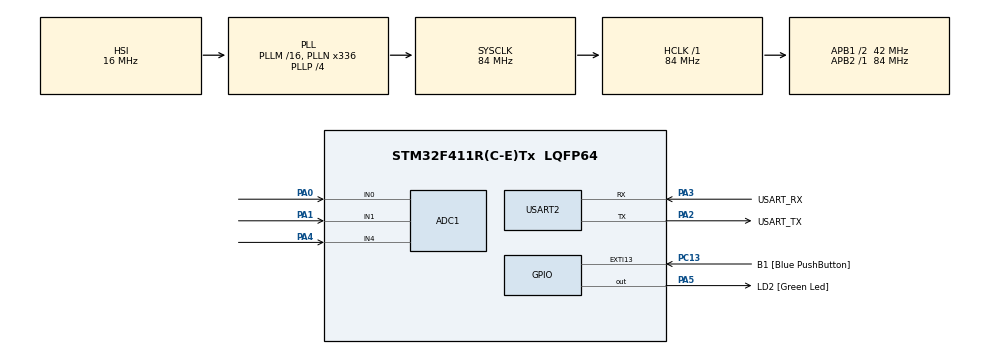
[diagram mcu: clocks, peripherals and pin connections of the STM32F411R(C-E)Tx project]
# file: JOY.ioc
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ADC1.Channel-1\#ChannelRegularConversion=ADC_CHANNEL_0
ADC1.Channel-2\#ChannelRegularConversion=ADC_CHANNEL_1
ADC1.Channel-3\#ChannelRegularConversion=ADC_CHANNEL_4
ADC1.ContinuousConvMode=ENABLE
ADC1.ExternalTrigConv=ADC_EXTERNALTRIGCONV_T3_TRGO
ADC1.NbrOfConversion=3
ADC1.NbrOfConversionFlag=1
ADC1.Rank-1\#ChannelRegularConversion=1
ADC1.Rank-2\#ChannelRegularConversion=2
ADC1.Rank-3\#ChannelRegularConversion=3
ADC1.SamplingTime-1\#ChannelRegularConversion=ADC_SAMPLETIME_56CYCLES
ADC1.SamplingTime-2\#ChannelRegularConversion=ADC_SAMPLETIME_56CYCLES
ADC1.SamplingTime-3\#ChannelRegularConversion=ADC_SAMPLETIME_56CYCLES
ADC1.ScanConvMode=ENABLE
ADC1.master=1
Mcu.Family=STM32F4
Mcu.Name=STM32F411R(C-E)Tx
Mcu.Package=LQFP64
NVIC.ADC_IRQn=true\:0\:0\:false\:false\:true\:true\:true
NVIC.PriorityGroup=NVIC_PRIORITYGROUP_0
NVIC.TIM3_IRQn=true\:0\:0\:false\:false\:true\:true\:true
PA0-WKUP.Signal=ADCx_IN0
PA1.Signal=ADCx_IN1
PA13.GPIO_Label=TMS
PA13.Mode=Serial_Wire
PA13.Signal=SYS_JTMS-SWDIO
PA14.GPIO_Label=TCK
PA14.Mode=Serial_Wire
PA14.Signal=SYS_JTCK-SWCLK
PA2.GPIO_Label=USART_TX
PA2.Mode=Asynchronous
PA2.Signal=USART2_TX
PA3.GPIO_Label=USART_RX
PA3.Mode=Asynchronous
PA3.Signal=USART2_RX
PA4.Signal=ADCx_IN4
PA5.GPIO_Label=LD2 [Green Led]
PA5.Signal=GPIO_Output
PB3.GPIO_Label=SWO
PB3.Signal=SYS_JTDO-SWO
PC13-ANTI_TAMP.GPIO_Label=B1 [Blue PushButton]
PC13-ANTI_TAMP.GPIO_ModeDefaultEXTI=GPIO_MODE_IT_FALLING
PC13-ANTI_TAMP.Signal=GPXTI13
PC14-OSC32_IN.Signal=RCC_OSC32_IN
PC15-OSC32_OUT.Signal=RCC_OSC32_OUT
PH0\ -\ OSC_IN.Signal=RCC_OSC_IN
PH1\ -\ OSC_OUT.Signal=RCC_OSC_OUT
ProjectManager.HeapSize=0x200
ProjectManager.StackSize=0x400
ProjectManager.TargetToolchain=STM32CubeIDE
RCC.48MHZClocksFreq_Value=84000000
RCC.AHBFreq_Value=84000000
RCC.APB1CLKDivider=RCC_HCLK_DIV2
RCC.APB1Freq_Value=42000000
RCC.APB1TimFreq_Value=84000000
RCC.APB2Freq_Value=84000000
RCC.APB2TimFreq_Value=84000000
RCC.CortexFreq_Value=84000000
RCC.FLatency-AdvancedSettings=FLASH_LATENCY_2
RCC.HCLKFreq_Value=84000000
RCC.HSE_VALUE=8000000
RCC.HSI_VALUE=16000000
RCC.LSE_VALUE=32768
RCC.PLLN=336
RCC.PLLP=RCC_PLLP_DIV4
RCC.SYSCLKFreq_VALUE=84000000
RCC.SYSCLKSource=RCC_SYSCLKSOURCE_PLLCLK
RCC.VCOOutputFreq_Value=336000000
SH.ADCx_IN0.0=ADC1_IN0,IN0
SH.ADCx_IN1.0=ADC1_IN1,IN1
SH.ADCx_IN4.0=ADC1_IN4,IN4
TIM3.AutoReloadPreload=TIM_AUTORELOAD_PRELOAD_ENABLE
TIM3.Period=20000
TIM3.Prescaler=41999
TIM3.TIM_MasterOutputTrigger=TIM_TRGO_UPDATE
USART2.VirtualMode=VM_ASYNC
VP_TIM3_VS_ClockSourceINT.Mode=Internal
board=NUCLEO-F411RE

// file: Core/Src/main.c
/* USER CODE BEGIN Header */
/**
  ******************************************************************************
  * @file           : main.c
  * @brief          : Main program body
  ******************************************************************************
  * @attention
  *
  * <h2><center>&copy; Copyright (c) 2021 STMicroelectronics.
  * All rights reserved.</center></h2>
  *
  * This software component is licensed by ST under BSD 3-Clause license,
  * the "License"; You may not use this file except in compliance with the
  * License. You may obtain a copy of the License at:
  *                        opensource.org/licenses/BSD-3-Clause
  *
  ******************************************************************************
  */
/* USER CODE END Header */
#include "main.h"

ADC_HandleTypeDef hadc1;

TIM_HandleTypeDef htim3;

UART_HandleTypeDef huart2;

/* USER CODE BEGIN PV */
uint16_t myADC[3];
volatile uint ADC_Done = 0;
uint32_t sensorValue;
/* USER CODE END PV */

void SystemClock_Config(void);
static void MX_GPIO_Init(void);
static void MX_USART2_UART_Init(void);
static void MX_ADC1_Init(void);
static void MX_TIM3_Init(void);

/* USER CODE BEGIN 0 */

#ifdef __GNUC__
/*WithGCC,small printf(optionLDLinker->Libraries->Small
 * printf  setto'Yes')calls__io_putchar()*/
#define PUTCHAR_PROTOTYPE int __io_putchar(int ch)
#else
#define PUTCHAR_PROTOTYPE int fputc(int ch, FILE *f)
#endif /*__GNUC__*/

/**
 * *@briefRetargetstheClibraryprintffunctiontotheUSART.
 * *@paramNone
 * *@retvalNone
*/
PUTCHAR_PROTOTYPE
{
	/*Placeyourimplementationoffputchere*/
	/*e.g.writeacharactertotheUSART1andLoopuntiltheendoftransmission*/
	if(ch == '\n')
	HAL_UART_Transmit(&huart2, (uint8_t*) "\r", 1, 0xFFFF);
	HAL_UART_Transmit(&huart2, (uint8_t*) &ch ,1, 0xFFFF);
	return ch;
}

void ADC1_2_IRQHandler(void){
	if(ADC1->ISR | ADC_ISR_EOC){
		result[i] = ADC1->DR;
		i++;
		if(i >= N)
			ADC_Done=1;
	}
}

void HAL_ADC_ConvCpltCallback(ADC_HandleTypeDef*hadc){
	sensorValue = HAL_ADC_GetValue(hadc);
    HAL_ADC_Start_IT(hadc);
}

/* USER CODE END 0 */

int main(void)
{

  /* MCU Configuration--------------------------------------------------------*/

  /* Reset of all peripherals, Initializes the Flash interface and the Systick. */
  HAL_Init();

  /* Configure the system clock */
  SystemClock_Config();

  /* Initialize all configured peripherals */
  MX_GPIO_Init();
  MX_USART2_UART_Init();
  MX_ADC1_Init();
  MX_TIM3_Init();

  /* Infinite loop */
  /* USER CODE BEGIN WHILE */
  while (1)
  {

	  /*###-1-Starttheconversionprocess################################*/
	  if(HAL_ADC_Start(&hadc1)!=HAL_OK){
		  /*StartConversationError*/
		  Error_Handler();
	  }

	  for(uint8_t i=0; i<3; i++){
		  /*###-2-Waitfortheendofconversion############################*/
		  HAL_ADC_PollForConversion( &hadc1,100);
		  /*Checkifthecontinuousconversionofregularchannelisfinished*/
		  if((HAL_ADC_GetState(&hadc1) &HAL_ADC_STATE_REG_EOC)==  HAL_ADC_STATE_REG_EOC){
			  /*###-3-Gettheconvertedvalueofregularchannel##############*/
			  myADC[i]=HAL_ADC_GetValue(&hadc1);
		  }
	  }
	  /*###-4-Stoptheconversionprocess#################################*/
	  HAL_ADC_Stop(&hadc1);

    /* USER CODE END WHILE */

    /* USER CODE BEGIN 3 */
	  printf(" %4d, %4d, %4d \n" , myADC[0], myADC[1], myADC[2]);
	  HAL_Delay(100);

  }
  /* USER CODE END 3 */
}

void SystemClock_Config(void)
{
  RCC_OscInitTypeDef RCC_OscInitStruct = {0};
  RCC_ClkInitTypeDef RCC_ClkInitStruct = {0};

  /** Configure the main internal regulator output voltage
  */
  __HAL_RCC_PWR_CLK_ENABLE();
  __HAL_PWR_VOLTAGESCALING_CONFIG(PWR_REGULATOR_VOLTAGE_SCALE1);
  /** Initializes the RCC Oscillators according to the specified parameters
  * in the RCC_OscInitTypeDef structure.
  */
  RCC_OscInitStruct.OscillatorType = RCC_OSCILLATORTYPE_HSI;
  RCC_OscInitStruct.HSIState = RCC_HSI_ON;
  RCC_OscInitStruct.HSICalibrationValue = RCC_HSICALIBRATION_DEFAULT;
  RCC_OscInitStruct.PLL.PLLState = RCC_PLL_ON;
  RCC_OscInitStruct.PLL.PLLSource = RCC_PLLSOURCE_HSI;
  RCC_OscInitStruct.PLL.PLLM = 16;
  RCC_OscInitStruct.PLL.PLLN = 336;
  RCC_OscInitStruct.PLL.PLLP = RCC_PLLP_DIV4;
  RCC_OscInitStruct.PLL.PLLQ = 4;
  if (HAL_RCC_OscConfig(&RCC_OscInitStruct) != HAL_OK)
  {
    Error_Handler();
  }
  /** Initializes the CPU, AHB and APB buses clocks
  */
  RCC_ClkInitStruct.ClockType = RCC_CLOCKTYPE_HCLK|RCC_CLOCKTYPE_SYSCLK
                              |RCC_CLOCKTYPE_PCLK1|RCC_CLOCKTYPE_PCLK2;
  RCC_ClkInitStruct.SYSCLKSource = RCC_SYSCLKSOURCE_PLLCLK;
  RCC_ClkInitStruct.AHBCLKDivider = RCC_SYSCLK_DIV1;
  RCC_ClkInitStruct.APB1CLKDivider = RCC_HCLK_DIV2;
  RCC_ClkInitStruct.APB2CLKDivider = RCC_HCLK_DIV1;

  if (HAL_RCC_ClockConfig(&RCC_ClkInitStruct, FLASH_LATENCY_2) != HAL_OK)
  {
    Error_Handler();
  }
}

static void MX_ADC1_Init(void)
{

  ADC_ChannelConfTypeDef sConfig = {0};

  /** Configure the global features of the ADC (Clock, Resolution, Data Alignment and number of conversion)
  */
  hadc1.Instance = ADC1;
  hadc1.Init.ClockPrescaler = ADC_CLOCK_SYNC_PCLK_DIV4;
  hadc1.Init.Resolution = ADC_RESOLUTION_12B;
  hadc1.Init.ScanConvMode = ENABLE;
  hadc1.Init.ContinuousConvMode = ENABLE;
  hadc1.Init.DiscontinuousConvMode = DISABLE;
  hadc1.Init.ExternalTrigConvEdge = ADC_EXTERNALTRIGCONVEDGE_RISING;
  hadc1.Init.ExternalTrigConv = ADC_EXTERNALTRIGCONV_T3_TRGO;
  hadc1.Init.DataAlign = ADC_DATAALIGN_RIGHT;
  hadc1.Init.NbrOfConversion = 3;
  hadc1.Init.DMAContinuousRequests = DISABLE;
  hadc1.Init.EOCSelection = ADC_EOC_SINGLE_CONV;
  if (HAL_ADC_Init(&hadc1) != HAL_OK)
  {
    Error_Handler();
  }
  /** Configure for the selected ADC regular channel its corresponding rank in the sequencer and its sample time.
  */
  sConfig.Channel = ADC_CHANNEL_0;
  sConfig.Rank = 1;
  sConfig.SamplingTime = ADC_SAMPLETIME_56CYCLES;
  if (HAL_ADC_ConfigChannel(&hadc1, &sConfig) != HAL_OK)
  {
    Error_Handler();
  }
  /** Configure for the selected ADC regular channel its corresponding rank in the sequencer and its sample time.
  */
  sConfig.Channel = ADC_CHANNEL_1;
  sConfig.Rank = 2;
  if (HAL_ADC_ConfigChannel(&hadc1, &sConfig) != HAL_OK)
  {
    Error_Handler();
  }
  /** Configure for the selected ADC regular channel its corresponding rank in the sequencer and its sample time.
  */
  sConfig.Channel = ADC_CHANNEL_4;
  sConfig.Rank = 3;
  if (HAL_ADC_ConfigChannel(&hadc1, &sConfig) != HAL_OK)
  {
    Error_Handler();
  }

}

static void MX_TIM3_Init(void)
{

  TIM_ClockConfigTypeDef sClockSourceConfig = {0};
  TIM_MasterConfigTypeDef sMasterConfig = {0};

  htim3.Instance = TIM3;
  htim3.Init.Prescaler = 41999;
  htim3.Init.CounterMode = TIM_COUNTERMODE_UP;
  htim3.Init.Period = 20000;
  htim3.Init.ClockDivision = TIM_CLOCKDIVISION_DIV1;
  htim3.Init.AutoReloadPreload = TIM_AUTORELOAD_PRELOAD_ENABLE;
  if (HAL_TIM_Base_Init(&htim3) != HAL_OK)
  {
    Error_Handler();
  }
  sClockSourceConfig.ClockSource = TIM_CLOCKSOURCE_INTERNAL;
  if (HAL_TIM_ConfigClockSource(&htim3, &sClockSourceConfig) != HAL_OK)
  {
    Error_Handler();
  }
  sMasterConfig.MasterOutputTrigger = TIM_TRGO_UPDATE;
  sMasterConfig.MasterSlaveMode = TIM_MASTERSLAVEMODE_DISABLE;
  if (HAL_TIMEx_MasterConfigSynchronization(&htim3, &sMasterConfig) != HAL_OK)
  {
    Error_Handler();
  }

}

static void MX_USART2_UART_Init(void)
{

  huart2.Instance = USART2;
  huart2.Init.BaudRate = 115200;
  huart2.Init.WordLength = UART_WORDLENGTH_8B;
  huart2.Init.StopBits = UART_STOPBITS_1;
  huart2.Init.Parity = UART_PARITY_NONE;
  huart2.Init.Mode = UART_MODE_TX_RX;
  huart2.Init.HwFlowCtl = UART_HWCONTROL_NONE;
  huart2.Init.OverSampling = UART_OVERSAMPLING_16;
  if (HAL_UART_Init(&huart2) != HAL_OK)
  {
    Error_Handler();
  }

}

static void MX_GPIO_Init(void)
{
  GPIO_InitTypeDef GPIO_InitStruct = {0};

  /* GPIO Ports Clock Enable */
  __HAL_RCC_GPIOC_CLK_ENABLE();
  __HAL_RCC_GPIOH_CLK_ENABLE();
  __HAL_RCC_GPIOA_CLK_ENABLE();
  __HAL_RCC_GPIOB_CLK_ENABLE();

  /*Configure GPIO pin Output Level */
  HAL_GPIO_WritePin(LD2_GPIO_Port, LD2_Pin, GPIO_PIN_RESET);

  /*Configure GPIO pin : B1_Pin */
  GPIO_InitStruct.Pin = B1_Pin;
  GPIO_InitStruct.Mode = GPIO_MODE_IT_FALLING;
  GPIO_InitStruct.Pull = GPIO_NOPULL;
  HAL_GPIO_Init(B1_GPIO_Port, &GPIO_InitStruct);

  /*Configure GPIO pin : LD2_Pin */
  GPIO_InitStruct.Pin = LD2_Pin;
  GPIO_InitStruct.Mode = GPIO_MODE_OUTPUT_PP;
  GPIO_InitStruct.Pull = GPIO_NOPULL;
  GPIO_InitStruct.Speed = GPIO_SPEED_FREQ_LOW;
  HAL_GPIO_Init(LD2_GPIO_Port, &GPIO_InitStruct);

}

void Error_Handler(void)
{
  __disable_irq();
  while (1)
  {
  }
}

/************************ (C) COPYRIGHT STMicroelectronics *****END OF FILE****/
